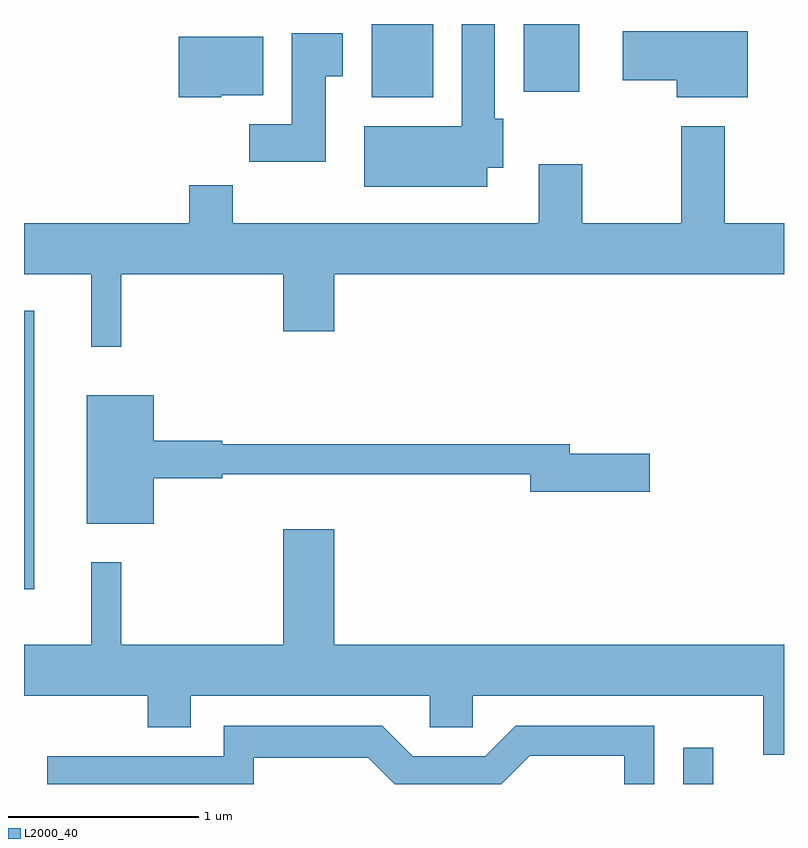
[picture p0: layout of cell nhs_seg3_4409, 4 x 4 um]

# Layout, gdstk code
import gdstk
lib = gdstk.Library(unit=1e-6, precision=1e-09)
def R(c, l, rs):  # rectangles x0, y0, x1, y1
    for r in rs: c.add(gdstk.rectangle(r[:2], r[2:], *l))
def P(c, l, *ps):  # polygons
    for p in ps: c.add(gdstk.Polygon(p, *l))
L2000_40 = (2000, 40)

nhs_seg3_4409 = lib.new_cell('nhs_seg3_4409')
R(nhs_seg3_4409, L2000_40, [(317.081,1229.892,317.239,1230.083), (313.611,1230.916,313.664,1232.383), (315.441,1233.506,315.764,1233.892), (316.241,1233.536,316.534,1233.892)])
P(nhs_seg3_4409, L2000_40, [(316.049,1233.136),(316.134,1233.136),(316.134,1233.394),(316.089,1233.394),(316.089,1233.892),(315.916,1233.892),(315.916,1233.354),(315.401,1233.354),(315.401,1233.036),(316.049,1233.036)],
  [(317.419,1233.854),(316.761,1233.854),(316.761,1233.596),(317.046,1233.596),(317.046,1233.506),(317.419,1233.506)],
  [(315.199,1233.616),(315.289,1233.616),(315.289,1233.844),(315.021,1233.844),(315.021,1233.364),(314.796,1233.364),(314.796,1233.166),(315.199,1233.166)],
  [(314.65,1233.516),(314.869,1233.516),(314.869,1233.824),(314.426,1233.824),(314.426,1233.506),(314.65,1233.506)],
  [(314.124,1232.576),(314.976,1232.576),(314.976,1232.276),(315.244,1232.276),(315.244,1232.576),(317.611,1232.576),(317.611,1232.844),(317.299,1232.844),(317.299,1233.354),(317.071,1233.354),(317.071,1232.844),(316.549,1232.844),(316.549,1233.154),(316.321,1233.154),(316.321,1232.844),(314.709,1232.844),(314.709,1233.044),(314.481,1233.044),(314.481,1232.844),(313.611,1232.844),(313.611,1232.576),(313.966,1232.576),(313.966,1232.193),(314.124,1232.193)],
  [(314.294,1231.501),(314.654,1231.501),(314.654,1231.521),(316.276,1231.521),(316.276,1231.431),(316.904,1231.431),(316.904,1231.629),(316.484,1231.629),(316.484,1231.679),(314.654,1231.679),(314.654,1231.699),(314.294,1231.699),(314.294,1231.939),(313.941,1231.939),(313.941,1231.261),(314.294,1231.261)],
  [(314.124,1231.058),(313.966,1231.058),(313.966,1230.624),(313.611,1230.624),(313.611,1230.356),(314.261,1230.356),(314.261,1230.191),(314.489,1230.191),(314.489,1230.356),(315.746,1230.356),(315.746,1230.191),(315.974,1230.191),(315.974,1230.356),(317.501,1230.356),(317.501,1230.046),(317.611,1230.046),(317.611,1230.624),(315.244,1230.624),(315.244,1231.234),(314.976,1231.234),(314.976,1230.624),(314.124,1230.624)],
  [(314.819,1230.031),(315.424,1230.031),(315.563,1229.892),(316.123,1229.892),(316.272,1230.041),(316.771,1230.041),(316.771,1229.892),(316.929,1229.892),(316.929,1230.199),(316.199,1230.199),(316.039,1230.039),(315.657,1230.039),(315.497,1230.199),(314.661,1230.199),(314.661,1230.039),(313.733,1230.039),(313.733,1229.892),(314.819,1229.892)])

lib.write_gds('nhs_seg3_4409.gds')
